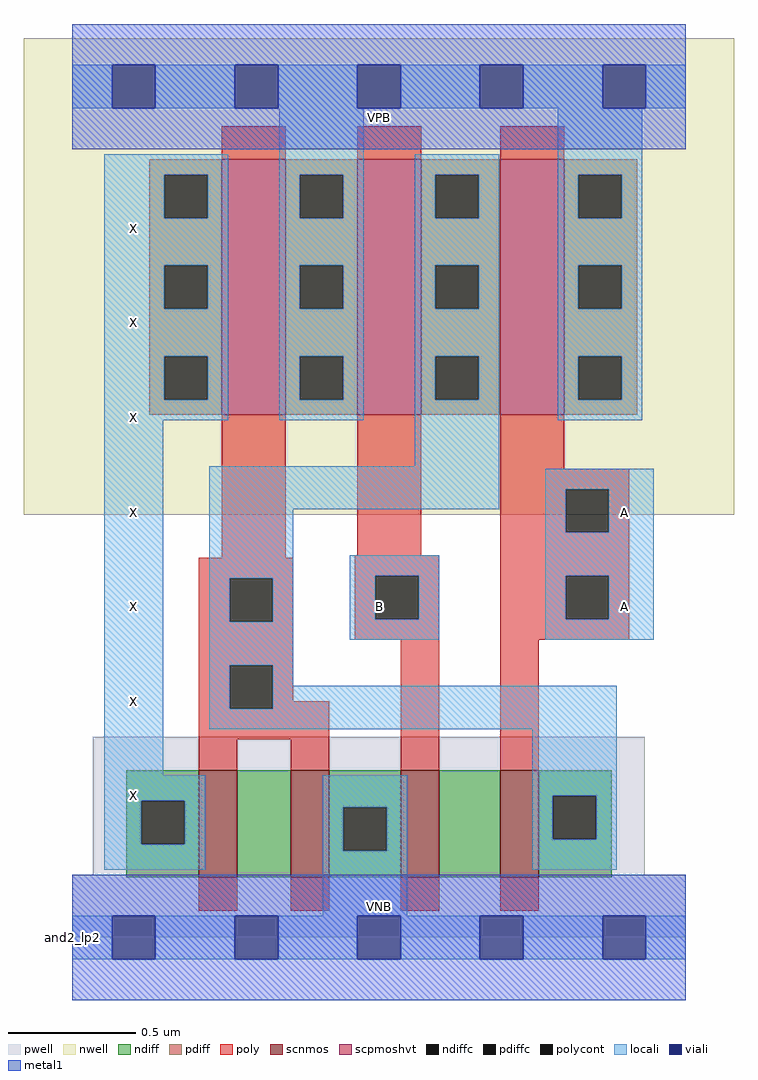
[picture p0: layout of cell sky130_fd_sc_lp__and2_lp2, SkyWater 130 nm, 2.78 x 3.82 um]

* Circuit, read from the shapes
.subckt sky130_fd_sc_lp__and2_lp2 A B VGND VNB VPB VPWR X
XM1 n1 n2 X VNB sky130_fd_pr__nfet_01v8 w=0.42 l=0.15
XM2 VGND n2 n1 VNB sky130_fd_pr__nfet_01v8 w=0.42 l=0.15
XM3 n3 B VGND VNB sky130_fd_pr__nfet_01v8 w=0.42 l=0.15
XM4 n2 A n3 VNB sky130_fd_pr__nfet_01v8 w=0.42 l=0.15
XM5 VPWR n2 X VPB sky130_fd_pr__pfet_01v8_hvt w=1 l=0.25
XM6 n2 B VPWR VPB sky130_fd_pr__pfet_01v8_hvt w=1 l=0.25
XM7 VPWR A n2 VPB sky130_fd_pr__pfet_01v8_hvt w=1 l=0.25
.ends

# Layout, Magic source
magic
tech sky130A
magscale 1 2
<< nwell >>
rect -38 331 518 704
<< pwell >>
rect 16 49 448 157
rect 0 0 480 49
<< scnmos >>
rect 99 47 129 131
rect 171 47 201 131
rect 257 47 287 131
rect 335 47 365 131
<< scpmoshvt >>
rect 117 409 167 609
rect 223 409 273 609
rect 335 409 385 609
<< ndiff >>
rect 42 107 99 131
rect 42 73 54 107
rect 88 73 99 107
rect 42 47 99 73
rect 129 47 171 131
rect 201 102 257 131
rect 201 68 212 102
rect 246 68 257 102
rect 201 47 257 68
rect 287 47 335 131
rect 365 111 422 131
rect 365 77 376 111
rect 410 77 422 111
rect 365 47 422 77
<< pdiff >>
rect 60 597 117 609
rect 60 563 72 597
rect 106 563 117 597
rect 60 526 117 563
rect 60 492 72 526
rect 106 492 117 526
rect 60 455 117 492
rect 60 421 72 455
rect 106 421 117 455
rect 60 409 117 421
rect 167 597 223 609
rect 167 563 178 597
rect 212 563 223 597
rect 167 526 223 563
rect 167 492 178 526
rect 212 492 223 526
rect 167 455 223 492
rect 167 421 178 455
rect 212 421 223 455
rect 167 409 223 421
rect 273 597 335 609
rect 273 563 284 597
rect 318 563 335 597
rect 273 526 335 563
rect 273 492 284 526
rect 318 492 335 526
rect 273 455 335 492
rect 273 421 284 455
rect 318 421 335 455
rect 273 409 335 421
rect 385 597 442 609
rect 385 563 396 597
rect 430 563 442 597
rect 385 526 442 563
rect 385 492 396 526
rect 430 492 442 526
rect 385 455 442 492
rect 385 421 396 455
rect 430 421 442 455
rect 385 409 442 421
<< ndiffc >>
rect 54 73 88 107
rect 212 68 246 102
rect 376 77 410 111
<< pdiffc >>
rect 72 563 106 597
rect 72 492 106 526
rect 72 421 106 455
rect 178 563 212 597
rect 178 492 212 526
rect 178 421 212 455
rect 284 563 318 597
rect 284 492 318 526
rect 284 421 318 455
rect 396 563 430 597
rect 396 492 430 526
rect 396 421 430 455
<< poly >>
rect 117 609 167 635
rect 223 609 273 635
rect 335 609 385 635
rect 117 297 167 409
rect 223 299 273 409
rect 335 367 385 409
rect 335 351 436 367
rect 335 317 386 351
rect 420 317 436 351
rect 99 281 173 297
rect 99 247 123 281
rect 157 247 173 281
rect 99 213 173 247
rect 221 283 287 299
rect 221 249 237 283
rect 271 249 287 283
rect 221 233 287 249
rect 99 179 123 213
rect 157 185 173 213
rect 157 179 201 185
rect 99 155 201 179
rect 99 131 129 155
rect 171 131 201 155
rect 257 131 287 233
rect 335 283 436 317
rect 335 249 386 283
rect 420 249 436 283
rect 335 233 436 249
rect 335 131 365 233
rect 99 21 129 47
rect 171 21 201 47
rect 257 21 287 47
rect 335 21 365 47
<< polycont >>
rect 386 317 420 351
rect 123 247 157 281
rect 237 249 271 283
rect 123 179 157 213
rect 386 249 420 283
<< locali >>
rect 0 649 31 683
rect 65 649 127 683
rect 161 649 223 683
rect 257 649 319 683
rect 353 649 415 683
rect 449 649 480 683
rect 25 597 122 613
rect 25 563 72 597
rect 106 563 122 597
rect 25 526 122 563
rect 25 492 72 526
rect 106 492 122 526
rect 25 455 122 492
rect 25 421 72 455
rect 106 421 122 455
rect 25 405 122 421
rect 162 597 228 649
rect 162 563 178 597
rect 212 563 228 597
rect 162 526 228 563
rect 162 492 178 526
rect 212 492 228 526
rect 162 455 228 492
rect 162 421 178 455
rect 212 421 228 455
rect 162 405 228 421
rect 268 597 334 613
rect 268 563 284 597
rect 318 563 334 597
rect 268 526 334 563
rect 268 492 284 526
rect 318 492 334 526
rect 268 455 334 492
rect 268 421 284 455
rect 318 421 334 455
rect 25 127 71 405
rect 268 369 334 421
rect 380 597 446 649
rect 380 563 396 597
rect 430 563 446 597
rect 380 526 446 563
rect 380 492 396 526
rect 430 492 446 526
rect 380 455 446 492
rect 380 421 396 455
rect 430 421 446 455
rect 380 405 446 421
rect 107 335 334 369
rect 370 351 455 367
rect 107 281 173 335
rect 370 317 386 351
rect 420 317 455 351
rect 107 247 123 281
rect 157 247 173 281
rect 107 213 173 247
rect 217 283 287 299
rect 217 249 237 283
rect 271 249 287 283
rect 217 233 287 249
rect 370 283 455 317
rect 370 249 386 283
rect 420 249 455 283
rect 370 233 455 249
rect 107 179 123 213
rect 157 197 173 213
rect 157 179 426 197
rect 107 163 426 179
rect 25 107 104 127
rect 25 73 54 107
rect 88 73 104 107
rect 25 53 104 73
rect 196 102 262 127
rect 196 68 212 102
rect 246 68 262 102
rect 196 17 262 68
rect 360 111 426 163
rect 360 77 376 111
rect 410 77 426 111
rect 360 53 426 77
rect 0 -17 31 17
rect 65 -17 127 17
rect 161 -17 223 17
rect 257 -17 319 17
rect 353 -17 415 17
rect 449 -17 480 17
<< viali >>
rect 31 649 65 683
rect 127 649 161 683
rect 223 649 257 683
rect 319 649 353 683
rect 415 649 449 683
rect 31 -17 65 17
rect 127 -17 161 17
rect 223 -17 257 17
rect 319 -17 353 17
rect 415 -17 449 17
<< metal1 >>
rect 0 683 480 715
rect 0 649 31 683
rect 65 649 127 683
rect 161 649 223 683
rect 257 649 319 683
rect 353 649 415 683
rect 449 649 480 683
rect 0 617 480 649
rect 0 17 480 49
rect 0 -17 31 17
rect 65 -17 127 17
rect 161 -17 223 17
rect 257 -17 319 17
rect 353 -17 415 17
rect 449 -17 480 17
rect 0 -49 480 -17
<< labels >>
flabel pwell s 0 0 480 49 0 FreeSans 200 0 0 0 VNB
port 4 nsew ground bidirectional
flabel nwell s 0 617 480 666 0 FreeSans 200 0 0 0 VPB
port 5 nsew power bidirectional
rlabel comment s 0 0 0 0 4 and2_lp2
flabel metal1 s 0 617 480 666 0 FreeSans 340 0 0 0 VPWR
port 6 nsew power bidirectional
flabel metal1 s 0 0 480 49 0 FreeSans 340 0 0 0 VGND
port 3 nsew ground bidirectional
flabel locali s 223 242 257 276 0 FreeSans 340 0 0 0 B
port 2 nsew signal input
flabel locali s 415 242 449 276 0 FreeSans 340 0 0 0 A
port 1 nsew signal input
flabel locali s 415 316 449 350 0 FreeSans 340 0 0 0 A
port 1 nsew signal input
flabel locali s 31 94 65 128 0 FreeSans 340 0 0 0 X
port 7 nsew signal output
flabel locali s 31 168 65 202 0 FreeSans 340 0 0 0 X
port 7 nsew signal output
flabel locali s 31 242 65 276 0 FreeSans 340 0 0 0 X
port 7 nsew signal output
flabel locali s 31 316 65 350 0 FreeSans 340 0 0 0 X
port 7 nsew signal output
flabel locali s 31 390 65 424 0 FreeSans 340 0 0 0 X
port 7 nsew signal output
flabel locali s 31 464 65 498 0 FreeSans 340 0 0 0 X
port 7 nsew signal output
flabel locali s 31 538 65 572 0 FreeSans 340 0 0 0 X
port 7 nsew signal output
<< properties >>
string LEFsite unit
string LEFclass CORE
string FIXED_BBOX 0 0 480 666
string GDS_FILE $PDKPATH/libs.ref/sky130_fd_sc_lp/gds/sky130_fd_sc_lp.gds
string LEFsymmetry X Y R90
string GDS_END 3584428
string GDS_START 3578946
<< end >>
